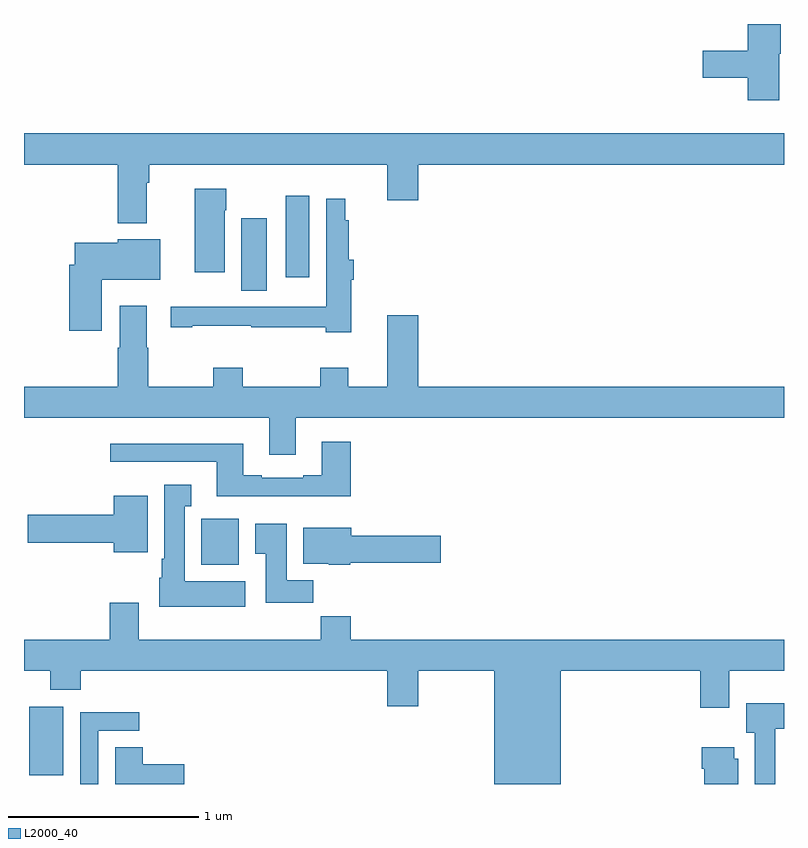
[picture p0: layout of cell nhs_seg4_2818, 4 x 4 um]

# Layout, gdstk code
import gdstk
lib = gdstk.Library(unit=1e-6, precision=1e-09)
def R(c, l, rs):  # rectangles x0, y0, x1, y1
    for r in rs: c.add(gdstk.rectangle(r[:2], r[2:], *l))
def P(c, l, *ps):  # polygons
    for p in ps: c.add(gdstk.Polygon(p, *l))
L2000_40 = (2000, 40)

nhs_seg4_2818 = lib.new_cell('nhs_seg4_2818')
R(nhs_seg4_2818, L2000_40, [(259.028,786.945,259.207,787.306), (259.934,788.054,260.131,788.296), (260.144,789.496,260.278,789.877), (260.378,789.567,260.5,789.997)])
P(nhs_seg4_2818, L2000_40, [(262.975,790.743),(262.983,790.743),(262.983,790.9),(262.808,790.9),(262.808,790.76),(262.572,790.76),(262.572,790.618),(262.808,790.618),(262.808,790.5),(262.975,790.5)],
  [(259.645,790.064),(259.658,790.064),(259.658,790.16),(260.912,790.16),(260.912,789.972),(261.076,789.972),(261.076,790.16),(263,790.16),(263,790.324),(259,790.324),(259,790.16),(259.493,790.16),(259.493,789.851),(259.645,789.851)],
  [(260.056,789.92),(260.064,789.92),(260.064,790.033),(259.898,790.033),(259.898,789.594),(260.056,789.594)],
  [(260.722,789.554),(260.735,789.554),(260.735,789.658),(260.708,789.658),(260.708,789.866),(260.691,789.866),(260.691,789.979),(260.592,789.979),(260.592,789.412),(260.382,789.412),(260.382,789.411),(260.048,789.411),(260.048,789.413),(259.773,789.413),(259.773,789.303),(259.885,789.303),(259.885,789.313),(260.195,789.313),(260.195,789.303),(260.588,789.303),(260.588,789.278),(260.722,789.278)],
  [(259.408,789.554),(259.717,789.554),(259.717,789.766),(259.494,789.766),(259.494,789.748),(259.268,789.748),(259.268,789.633),(259.238,789.633),(259.238,789.285),(259.408,789.285)],
  [(260.431,788.828),(263,788.828),(263,788.992),(261.076,788.992),(261.076,789.367),(260.912,789.367),(260.912,788.992),(260.707,788.992),(260.707,789.091),(260.56,789.091),(260.56,788.992),(260.151,788.992),(260.151,789.091),(259.996,789.091),(259.996,788.992),(259.653,788.992),(259.653,789.197),(259.645,789.197),(259.645,789.418),(259.505,789.418),(259.505,789.197),(259.493,789.197),(259.493,788.992),(259,788.992),(259,788.828),(260.291,788.828),(260.291,788.634),(260.431,788.634)],
  [(260.72,788.701),(260.567,788.701),(260.567,788.524),(260.471,788.524),(260.471,788.511),(260.251,788.511),(260.251,788.524),(260.155,788.524),(260.155,788.692),(259.455,788.692),(259.455,788.595),(260.015,788.595),(260.015,788.414),(260.72,788.414)],
  [(260.164,787.966),(259.846,787.966),(259.846,788.363),(259.879,788.363),(259.879,788.476),(259.739,788.476),(259.739,788.086),(259.724,788.086),(259.724,787.986),(259.712,787.986),(259.712,787.832),(260.164,787.832)],
  [(259.651,788.416),(259.472,788.416),(259.472,788.318),(259.02,788.318),(259.02,788.171),(259.472,788.171),(259.472,788.12),(259.651,788.12)],
  [(260.522,787.972),(260.383,787.972),(260.383,788.269),(260.216,788.269),(260.216,788.113),(260.273,788.113),(260.273,787.854),(260.522,787.854)],
  [(260.718,788.065),(261.193,788.065),(261.193,788.207),(260.722,788.207),(260.722,788.248),(260.471,788.248),(260.471,788.06),(260.604,788.06),(260.604,788.054),(260.718,788.054)],
  [(261.826,787.496),(262.559,787.496),(262.559,787.302),(262.711,787.302),(262.711,787.496),(263,787.496),(263,787.66),(260.72,787.66),(260.72,787.784),(260.563,787.784),(260.563,787.66),(259.603,787.66),(259.603,787.855),(259.451,787.855),(259.451,787.66),(259,787.66),(259,787.496),(259.138,787.496),(259.138,787.397),(259.298,787.397),(259.298,787.496),(260.912,787.496),(260.912,787.308),(261.076,787.308),(261.076,787.496),(261.476,787.496),(261.476,786.9),(261.826,786.9)],
  [(262.954,787.19),(263,787.19),(263,787.324),(262.802,787.324),(262.802,787.17),(262.847,787.17),(262.847,786.9),(262.954,786.9)],
  [(259.392,787.179),(259.606,787.179),(259.606,787.278),(259.296,787.278),(259.296,786.9),(259.392,786.9)],
  [(259.843,787.004),(259.625,787.004),(259.625,787.094),(259.481,787.094),(259.481,786.9),(259.843,786.9)],
  [(262.759,787.032),(262.738,787.032),(262.738,787.093),(262.568,787.093),(262.568,786.98),(262.58,786.98),(262.58,786.9),(262.759,786.9)])

lib.write_gds('nhs_seg4_2818.gds')
